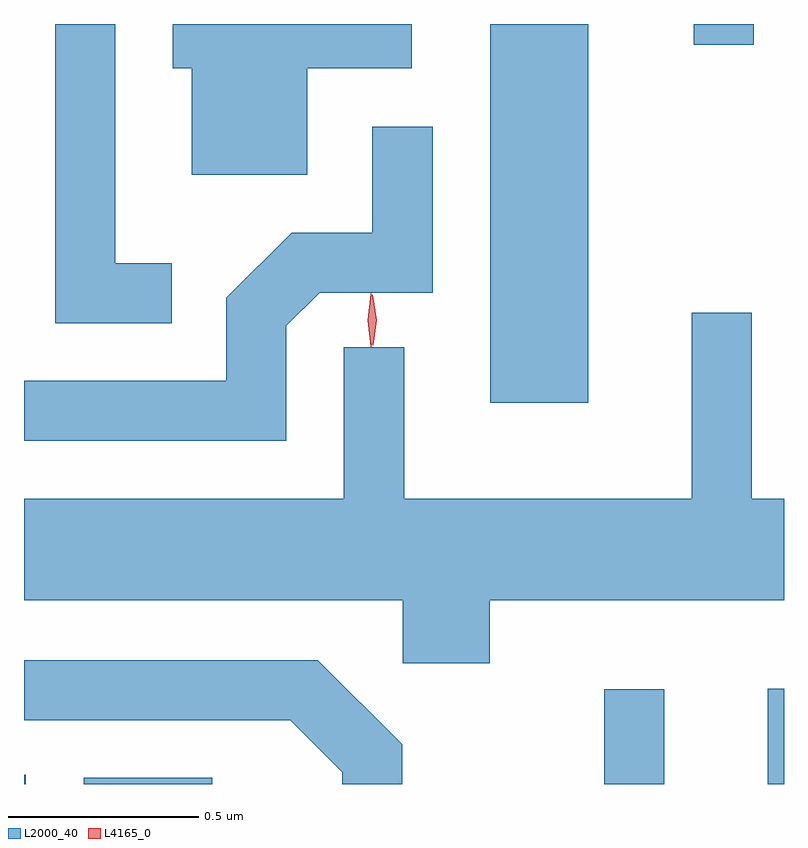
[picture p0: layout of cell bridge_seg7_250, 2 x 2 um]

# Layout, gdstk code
import gdstk
lib = gdstk.Library(unit=1e-6, precision=1e-09)
def R(c, l, rs):  # rectangles x0, y0, x1, y1
    for r in rs: c.add(gdstk.rectangle(r[:2], r[2:], *l))
def P(c, l, *ps):  # polygons
    for p in ps: c.add(gdstk.Polygon(p, *l))
L2000_40 = (2000, 40)
L4165_0 = (4165, 0)

bridge_seg7_250 = lib.new_cell('bridge_seg7_250')
R(bridge_seg7_250, L2000_40, [(1796.559,1689.413,1796.564,1689.438), (1796.716,1689.413,1797.054,1689.429), (1798.086,1689.413,1798.244,1689.663), (1798.516,1689.413,1798.559,1689.664), (1797.786,1690.416,1798.044,1691.413), (1798.321,1691.358,1798.479,1691.413)])
P(bridge_seg7_250, L2000_40, [(1796.948,1690.784),(1796.799,1690.784),(1796.799,1691.413),(1796.641,1691.413),(1796.641,1690.626),(1796.948,1690.626)],
  [(1797.304,1691.296),(1797.579,1691.296),(1797.579,1691.413),(1796.951,1691.413),(1796.951,1691.296),(1797.001,1691.296),(1797.001,1691.016),(1797.304,1691.016)],
  [(1797.249,1690.619),(1797.337,1690.706),(1797.634,1690.706),(1797.634,1691.143),(1797.476,1691.143),(1797.476,1690.864),(1797.264,1690.864),(1797.091,1690.692),(1797.091,1690.474),(1796.559,1690.474),(1796.559,1690.316),(1797.249,1690.316)],
  [(1797.784,1689.896),(1798.559,1689.896),(1798.559,1690.164),(1798.474,1690.164),(1798.474,1690.653),(1798.316,1690.653),(1798.316,1690.164),(1797.559,1690.164),(1797.559,1690.563),(1797.401,1690.563),(1797.401,1690.164),(1796.559,1690.164),(1796.559,1689.896),(1797.556,1689.896),(1797.556,1689.731),(1797.784,1689.731)],
  [(1797.554,1689.517),(1797.332,1689.739),(1796.559,1689.739),(1796.559,1689.581),(1797.259,1689.581),(1797.396,1689.444),(1797.396,1689.413),(1797.554,1689.413)])
P(bridge_seg7_250, L4165_0, [(1797.472,1690.564),(1797.463,1690.634),(1797.472,1690.703),(1797.473,1690.704),(1797.473,1690.703),(1797.483,1690.634),(1797.473,1690.564),(1797.473,1690.564)],
  [(1797.477,1690.568),(1797.477,1690.568),(1797.467,1690.634),(1797.476,1690.7),(1797.477,1690.701),(1797.477,1690.7),(1797.487,1690.634),(1797.478,1690.568)])

lib.write_gds('bridge_seg7_250.gds')
